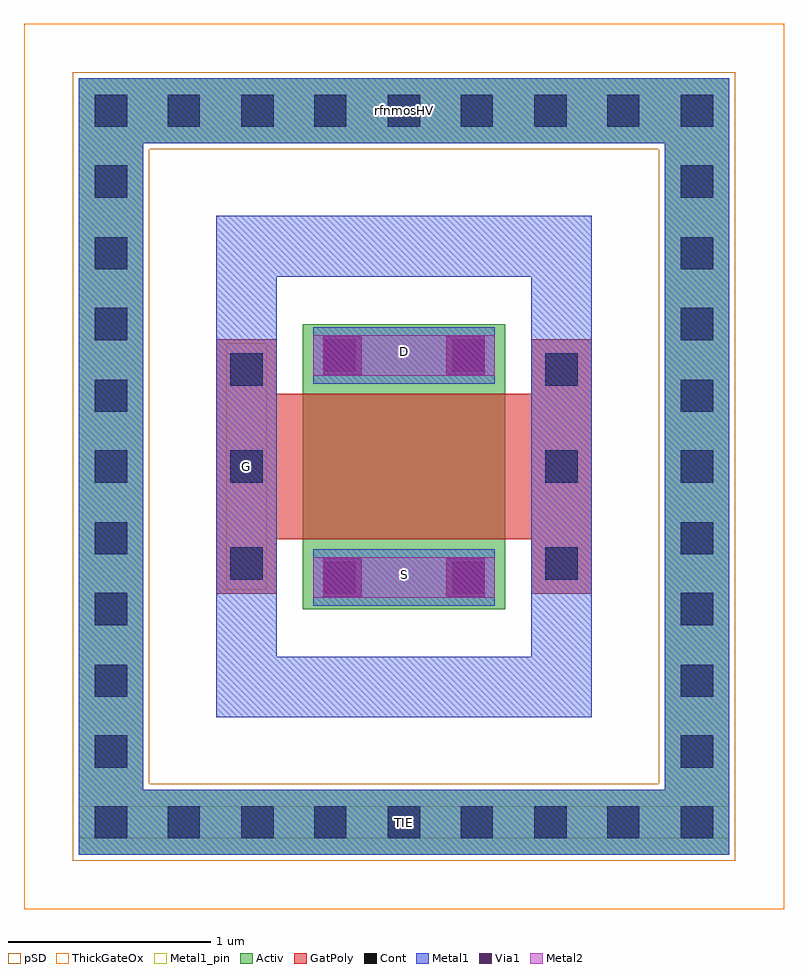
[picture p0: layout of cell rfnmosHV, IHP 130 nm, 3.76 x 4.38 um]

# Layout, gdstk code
import gdstk
lib = gdstk.Library(unit=1e-6, precision=1e-09)
def R(c, l, rs):  # rectangles x0, y0, x1, y1
    for r in rs: c.add(gdstk.rectangle(r[:2], r[2:], *l))
def A(c, l, x, y, w, h, nx, ny, dx, dy):  # array of equal rectangles
    R(c, l, [(x+i*dx, y+j*dy, x+i*dx+w, y+j*dy+h) for i in range(nx) for j in range(ny)])
def P(c, l, *ps):  # polygons
    for p in ps: c.add(gdstk.Polygon(p, *l))
Activ = (1, 0)
GatPoly = (5, 0)
Cont = (6, 0)
Metal1 = (8, 0)
Metal1_pin = (8, 2)
Metal2 = (10, 0)
pSD = (14, 0)
Via1 = (19, 0)
ThickGateOx = (44, 0)

rfnmoshv = lib.new_cell('rfnmosHV')
R(rfnmoshv, Activ, [(1.38,1.485,2.38,2.895)])
P(rfnmoshv, Activ, [(0.27,0.27),(0.27,4.11),(3.17,4.11),(3.17,3.79),(0.59,3.79),(0.59,0.59),(3.17,0.59),(3.17,4.11),(3.49,4.11),(3.49,0.27)])
P(rfnmoshv, GatPoly, [(0.95,1.56),(0.95,2.82),(1.25,2.82),(1.25,2.55),(2.51,2.55),(2.51,2.82),(2.81,2.82),(2.81,1.56),(2.51,1.56),(2.51,1.83),(1.25,1.83),(1.25,1.56)])
A(rfnmoshv, Cont, 0.35, 0.35, 0.16, 0.16, 1, 3, 0, 0.35)
A(rfnmoshv, Cont, 3.25, 0.35, 0.16, 0.16, 1, 3, 0, 0.35)
A(rfnmoshv, Cont, 1.02, 1.63, 0.16, 0.16, 1, 3, 0, 0.48)
A(rfnmoshv, Cont, 2.58, 1.63, 0.16, 0.16, 1, 3, 0, 0.48)
R(rfnmoshv, Cont, [(0.71,0.35,0.87,0.51), (1.075,0.35,1.235,0.51), (1.435,0.35,1.595,0.51), (1.8,0.35,1.96,0.51), (2.16,0.35,2.32,0.51), (2.525,0.35,2.685,0.51), (2.885,0.35,3.045,0.51), (0.35,1.405,0.51,1.565), (3.25,1.405,3.41,1.565), (1.48,1.56,1.64,1.72), (2.12,1.56,2.28,1.72), (0.35,1.755,0.51,1.915), (3.25,1.755,3.41,1.915), (0.35,2.11,0.51,2.27), (3.25,2.11,3.41,2.27), (0.35,2.46,0.51,2.62), (3.25,2.46,3.41,2.62), (1.48,2.66,1.64,2.82), (2.12,2.66,2.28,2.82), (0.35,2.815,0.51,2.975), (3.25,2.815,3.41,2.975), (0.35,3.165,0.51,3.325), (3.25,3.165,3.41,3.325), (0.35,3.52,0.51,3.68), (3.25,3.52,3.41,3.68), (0.35,3.87,0.51,4.03), (0.71,3.87,0.87,4.03), (1.075,3.87,1.235,4.03), (1.435,3.87,1.595,4.03), (1.8,3.87,1.96,4.03), (2.16,3.87,2.32,4.03), (2.525,3.87,2.685,4.03), (2.885,3.87,3.045,4.03), (3.25,3.87,3.41,4.03)])
R(rfnmoshv, Metal1, [(1.43,1.5,2.33,1.78), (1,1.58,1.2,2.8), (2.56,1.58,2.76,2.8), (1.43,2.6,2.33,2.88)])
P(rfnmoshv, Metal1, [(0.27,0.27),(0.27,4.11),(3.17,4.11),(3.17,3.79),(0.59,3.79),(0.59,0.59),(3.17,0.59),(3.17,4.11),(3.49,4.11),(3.49,0.27)],
  [(0.95,0.95),(0.95,3.43),(2.51,3.43),(2.51,3.13),(1.25,3.13),(1.25,1.25),(2.51,1.25),(2.51,3.43),(2.81,3.43),(2.81,0.95)])
R(rfnmoshv, Metal1_pin, [(0.27,0.35,3.49,0.51), (1.43,1.5,2.33,1.78), (1,1.58,1.2,2.8), (1.43,2.6,2.33,2.88)])
R(rfnmoshv, Metal2, [(1.43,1.54,2.33,1.74), (1.43,2.64,2.33,2.84)])
P(rfnmoshv, pSD, [(0.24,0.24),(0.24,4.14),(3.14,4.14),(3.14,3.76),(0.62,3.76),(0.62,0.62),(3.14,0.62),(3.14,4.14),(3.52,4.14),(3.52,0.24)])
R(rfnmoshv, Via1, [(1.48,1.545,1.67,1.735), (2.09,1.545,2.28,1.735), (1.48,2.645,1.67,2.835), (2.09,2.645,2.28,2.835)])
R(rfnmoshv, ThickGateOx, [(0,0,3.76,4.38)])
rfnmoshv.add(gdstk.Label('TIE', (1.88,0.43), layer=63, texttype=0))
rfnmoshv.add(gdstk.Label('rfnmosHV', (1.88,3.95), layer=63, texttype=0))
rfnmoshv.add(gdstk.Label('G', (1.1,2.19), layer=63, texttype=0))
rfnmoshv.add(gdstk.Label('D', (1.88,2.758), layer=63, texttype=0))
rfnmoshv.add(gdstk.Label('S', (1.88,1.658), layer=63, texttype=0))

lib.write_gds('rfnmosHV.gds')
